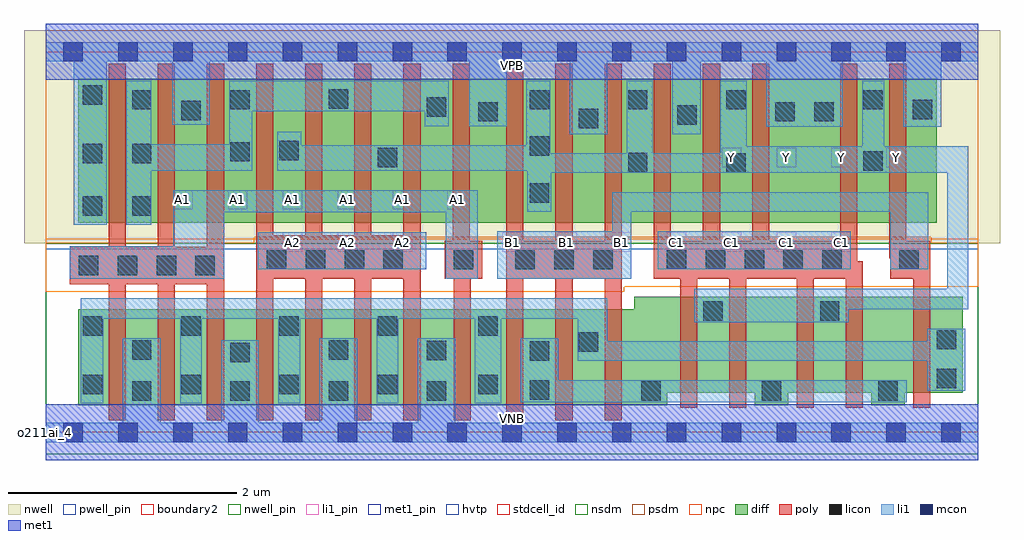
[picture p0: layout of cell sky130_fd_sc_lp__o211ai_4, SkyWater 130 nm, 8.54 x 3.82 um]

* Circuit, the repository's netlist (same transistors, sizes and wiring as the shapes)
* Copyright 2020 The SkyWater PDK Authors
*
* Licensed under the Apache License, Version 2.0 (the "License");
* you may not use this file except in compliance with the License.
* You may obtain a copy of the License at
*
*     https://www.apache.org/licenses/LICENSE-2.0
*
* Unless required by applicable law or agreed to in writing, software
* distributed under the License is distributed on an "AS IS" BASIS,
* WITHOUT WARRANTIES OR CONDITIONS OF ANY KIND, either express or implied.
* See the License for the specific language governing permissions and
* limitations under the License.
*
* SPDX-License-Identifier: Apache-2.0

.SUBCKT sky130_fd_sc_lp__o211ai_4 A1 A2 B1 C1 VGND VNB VPB VPWR Y
*.PININFO A1:I A2:I B1:I C1:I VGND:I VNB:I VPB:I VPWR:I Y:O
MMPA0 VPWR A1 sndA1 VPB sky130_fd_pr__pfet_01v8_hvt m=4 w=1.26U l=0.15U mult=1
+ sa=0.265 sb=0.265 sd=0.28 area=0.063 perim=1.14
MMPA1 sndA1 A2 Y VPB sky130_fd_pr__pfet_01v8_hvt m=4 w=1.26U l=0.15U mult=1 sa=0.265
+ sb=0.265 sd=0.28 area=0.063 perim=1.14
MMPB0 VPWR B1 Y VPB sky130_fd_pr__pfet_01v8_hvt m=4 w=1.26U l=0.15U mult=1 sa=0.265
+ sb=0.265 sd=0.28 area=0.063 perim=1.14
MMPC0 VPWR C1 Y VPB sky130_fd_pr__pfet_01v8_hvt m=4 w=1.26U l=0.15U mult=1 sa=0.265
+ sb=0.265 sd=0.28 area=0.063 perim=1.14
MMNA0 pndA A1 VGND VNB sky130_fd_pr__nfet_01v8 m=4 w=0.84U l=0.15U mult=1 sa=0.265
+ sb=0.265 sd=0.28 area=0.063 perim=1.14
MMNA1 pndA A2 VGND VNB sky130_fd_pr__nfet_01v8 m=4 w=0.84U l=0.15U mult=1 sa=0.265
+ sb=0.265 sd=0.28 area=0.063 perim=1.14
MMNB0 pndB B1 pndA VNB sky130_fd_pr__nfet_01v8 m=4 w=0.84U l=0.15U mult=1 sa=0.265
+ sb=0.265 sd=0.28 area=0.063 perim=1.14
MMNC0 Y C1 pndB VNB sky130_fd_pr__nfet_01v8 m=4 w=0.84U l=0.15U mult=1 sa=0.265
+ sb=0.265 sd=0.28 area=0.063 perim=1.14
.ENDS sky130_fd_sc_lp__o211ai_4

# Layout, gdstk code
import gdstk
lib = gdstk.Library(unit=1e-6, precision=1e-09)
def R(c, l, rs):  # rectangles x0, y0, x1, y1
    for r in rs: c.add(gdstk.rectangle(r[:2], r[2:], *l))
def A(c, l, x, y, w, h, nx, ny, dx, dy):  # array of equal rectangles
    R(c, l, [(x+i*dx, y+j*dy, x+i*dx+w, y+j*dy+h) for i in range(nx) for j in range(ny)])
def P(c, l, *ps):  # polygons
    for p in ps: c.add(gdstk.Polygon(p, *l))
nwell_pin = (64, 16)
nwell = (64, 20)
diff = (65, 20)
poly = (66, 20)
licon = (66, 44)
li1_pin = (67, 16)
li1 = (67, 20)
mcon = (67, 44)
met1_pin = (68, 16)
met1 = (68, 20)
hvtp = (78, 44)
stdcell_id = (81, 4)
nsdm = (93, 44)
psdm = (94, 20)
npc = (95, 20)
pwell_pin = (122, 16)
boundary2 = (236, 0)

sky130_fd_sc_lp__o211ai_ = lib.new_cell('sky130_fd_sc_lp__o211ai_4')
R(sky130_fd_sc_lp__o211ai_, nwell_pin, [(0,3.085,8.16,3.33)])
R(sky130_fd_sc_lp__o211ai_, nwell, [(-0.19,1.655,8.35,3.52)])
R(sky130_fd_sc_lp__o211ai_, diff, [(0.285,1.835,7.795,3.095)])
P(sky130_fd_sc_lp__o211ai_, diff, [(8.025,1.185),(5.15,1.185),(5.15,1.075),(0.285,1.075),(0.285,0.235),(5.44,0.235),(5.44,0.345),(6.205,0.345),(6.205,0.235),(6.495,0.235),(6.495,0.345),(7.225,0.345),(7.225,0.235),(7.515,0.235),(7.515,0.345),(8.025,0.345)])
P(sky130_fd_sc_lp__o211ai_, poly, [(1.56,3.225),(1.41,3.225),(1.41,1.625),(1.13,1.625),(1.13,3.225),(0.98,3.225),(0.98,1.625),(0.7,1.625),(0.7,3.225),(0.55,3.225),(0.55,1.625),(0.21,1.625),(0.21,1.295),(0.55,1.295),(0.55,0.105),(0.7,0.105),(0.7,1.295),(0.98,1.295),(0.98,0.105),(1.13,0.105),(1.13,1.295),(1.41,1.295),(1.41,0.105),(1.56,0.105)],
  [(3.28,3.225),(3.13,3.225),(3.13,1.725),(2.85,1.725),(2.85,3.225),(2.7,3.225),(2.7,1.725),(2.42,1.725),(2.42,3.225),(2.27,3.225),(2.27,1.725),(1.99,1.725),(1.99,3.225),(1.84,3.225),(1.84,0.105),(1.99,0.105),(1.99,1.345),(2.27,1.345),(2.27,0.105),(2.42,0.105),(2.42,1.345),(2.7,1.345),(2.7,0.105),(2.85,0.105),(2.85,1.345),(3.13,1.345),(3.13,0.105),(3.28,0.105)],
  [(3.82,1.675),(3.71,1.675),(3.71,3.225),(3.56,3.225),(3.56,1.675),(3.49,1.675),(3.49,1.345),(3.57,1.345),(3.57,0.105),(3.72,0.105),(3.72,1.345),(3.82,1.345)],
  [(5.04,3.225),(4.89,3.225),(4.89,1.675),(4.61,1.675),(4.61,3.225),(4.46,3.225),(4.46,1.675),(4.18,1.675),(4.18,3.225),(4.03,3.225),(4.03,0.105),(4.18,0.105),(4.18,1.345),(4.46,1.345),(4.46,0.105),(4.61,0.105),(4.61,1.345),(4.89,1.345),(4.89,0.105),(5.04,0.105)],
  [(7.15,1.495),(7.1,1.495),(7.1,3.225),(6.95,3.225),(6.95,1.675),(6.33,1.675),(6.33,3.225),(6.18,3.225),(6.18,1.675),(5.9,1.675),(5.9,3.225),(5.75,3.225),(5.75,1.675),(5.47,1.675),(5.47,3.225),(5.32,3.225),(5.32,1.345),(5.55,1.345),(5.55,0.215),(5.7,0.215),(5.7,1.345),(5.98,1.345),(5.98,0.215),(6.13,0.215),(6.13,1.345),(6.57,1.345),(6.57,0.215),(6.72,0.215),(6.72,1.345),(7,1.345),(7,0.215),(7.15,0.215)],
  [(7.74,1.675),(7.53,1.675),(7.53,3.225),(7.38,3.225),(7.38,1.525),(7.39,1.525),(7.39,1.345),(7.59,1.345),(7.59,0.215),(7.74,0.215)])
A(sky130_fd_sc_lp__o211ai_, licon, 0.755, 0.275, 0.17, 0.17, 4, 1, 0.86, 0)
A(sky130_fd_sc_lp__o211ai_, licon, 0.325, 0.335, 0.17, 0.17, 4, 2, 0.86, 0.51)
A(sky130_fd_sc_lp__o211ai_, licon, 0.29, 1.375, 0.17, 0.17, 4, 1, 0.34, 0)
A(sky130_fd_sc_lp__o211ai_, licon, 1.935, 1.425, 0.17, 0.17, 4, 1, 0.34, 0)
A(sky130_fd_sc_lp__o211ai_, licon, 4.11, 1.425, 0.17, 0.17, 3, 1, 0.34, 0)
A(sky130_fd_sc_lp__o211ai_, licon, 5.435, 1.425, 0.17, 0.17, 5, 1, 0.34, 0)
A(sky130_fd_sc_lp__o211ai_, licon, 4.235, 2.825, 0.17, 0.17, 3, 1, 0.86, 0)
R(sky130_fd_sc_lp__o211ai_, licon, [(5.21,0.275,5.38,0.445), (6.265,0.275,6.435,0.445), (7.285,0.275,7.455,0.445), (4.235,0.285,4.405,0.455), (3.785,0.335,3.955,0.505), (7.795,0.385,7.965,0.555), (1.615,0.615,1.785,0.785), (4.235,0.625,4.405,0.795), (3.335,0.63,3.505,0.8), (0.755,0.635,0.925,0.805), (2.475,0.635,2.645,0.805), (4.665,0.705,4.835,0.875), (7.795,0.725,7.965,0.895), (3.785,0.845,3.955,1.015), (5.755,0.975,5.925,1.145), (6.775,0.975,6.945,1.145), (3.57,1.425,3.74,1.595), (7.47,1.425,7.64,1.595), (0.325,1.895,0.495,2.065), (0.755,1.895,0.925,2.065), (4.235,2.01,4.405,2.18), (5.955,2.27,6.125,2.44), (5.095,2.275,5.265,2.445), (7.155,2.29,7.325,2.46), (2.905,2.32,3.075,2.49), (0.325,2.355,0.495,2.525), (0.755,2.355,0.925,2.525), (1.615,2.37,1.785,2.54), (2.045,2.38,2.215,2.55), (4.235,2.42,4.405,2.59), (4.665,2.66,4.835,2.83), (5.525,2.69,5.695,2.86), (3.785,2.72,3.955,2.89), (6.385,2.72,6.555,2.89), (6.725,2.72,6.895,2.89), (1.185,2.73,1.355,2.9), (7.585,2.74,7.755,2.91), (3.335,2.76,3.505,2.93), (0.755,2.825,0.925,2.995), (1.615,2.825,1.785,2.995), (7.155,2.825,7.325,2.995), (2.475,2.83,2.645,3), (0.325,2.865,0.495,3.035)])
A(sky130_fd_sc_lp__o211ai_, li1_pin, 2.075, 1.58, 0.17, 0.17, 3, 1, 0.48, 0)
A(sky130_fd_sc_lp__o211ai_, li1_pin, 3.995, 1.58, 0.17, 0.17, 7, 1, 0.48, 0)
A(sky130_fd_sc_lp__o211ai_, li1_pin, 1.115, 1.95, 0.17, 0.17, 6, 1, 0.48, 0)
A(sky130_fd_sc_lp__o211ai_, li1_pin, 5.915, 2.32, 0.17, 0.17, 4, 1, 0.48, 0)
R(sky130_fd_sc_lp__o211ai_, li1, [(1.855,1.425,3.33,1.75), (5.355,1.425,7.045,1.76)])
P(sky130_fd_sc_lp__o211ai_, li1, [(5.48,2.61),(5.48,3.245),(4.915,3.245),(4.915,2.61),(4.585,2.61),(4.585,3.245),(4.035,3.245),(4.035,2.68),(3.705,2.68),(3.705,3.245),(1.435,3.245),(1.435,2.69),(1.105,2.69),(1.105,3.245),(0.535,3.245),(0.535,1.815),(0.245,1.815),(0.245,3.245),(0,3.245),(0,3.415),(8.16,3.415),(8.16,3.245),(7.835,3.245),(7.835,2.675),(7.505,2.675),(7.505,3.245),(6.975,3.245),(6.975,2.675),(6.305,2.675),(6.305,3.245),(5.73,3.245),(5.73,2.61)],
  [(2.395,0.085),(2.395,0.825),(2.725,0.825),(2.725,0.085),(3.255,0.085),(3.255,0.825),(3.585,0.825),(3.585,0.085),(8.16,0.085),(8.16,-0.085),(0,-0.085),(0,0.085),(0.675,0.085),(0.675,0.825),(1.005,0.825),(1.005,0.085),(1.535,0.085),(1.535,0.805),(1.865,0.805),(1.865,0.085)],
  [(1.115,1.63),(1.115,2.12),(3.78,2.12),(3.78,1.345),(3.5,1.345),(3.5,1.925),(1.56,1.925),(1.56,1.345),(0.21,1.345),(0.21,1.63)],
  [(7.145,2.505),(7.145,3.075),(7.335,3.075),(7.335,2.505),(8.07,2.505),(8.07,1.075),(7.025,1.075),(7.025,0.965),(5.675,0.965),(5.675,1.255),(7.89,1.255),(7.89,2.27),(4.425,2.27),(4.425,1.93),(4.215,1.93),(4.215,2.29),(2.025,2.29),(2.025,2.63),(2.235,2.63),(2.235,2.51),(4.205,2.51),(4.205,3.075),(4.415,3.075),(4.415,2.44),(5.085,2.44),(5.085,3.075),(5.31,3.075),(5.31,2.44),(5.9,2.44),(5.9,3.075),(6.135,3.075),(6.135,2.505)],
  [(3.315,2.81),(1.805,2.81),(1.805,2.29),(0.925,2.29),(0.925,1.815),(0.705,1.815),(0.705,3.075),(0.925,3.075),(0.925,2.52),(1.605,2.52),(1.605,3.075),(3.525,3.075),(3.525,2.68),(3.315,2.68)],
  [(4.915,0.795),(7.715,0.795),(7.715,0.905),(8.045,0.905),(8.045,0.365),(7.715,0.365),(7.715,0.625),(4.655,0.625),(4.655,0.995),(3.985,0.995),(3.985,0.255),(3.755,0.255),(3.755,0.995),(3.085,0.995),(3.085,0.255),(2.895,0.255),(2.895,0.995),(2.225,0.995),(2.225,0.255),(2.035,0.255),(2.035,0.995),(1.365,0.995),(1.365,0.255),(1.175,0.255),(1.175,0.995),(0.505,0.995),(0.505,0.255),(0.305,0.255),(0.305,1.175),(4.915,1.175)],
  [(4.485,0.455),(7.535,0.455),(7.535,0.265),(4.155,0.265),(4.155,0.825),(4.485,0.825)],
  [(7.39,1.425),(7.39,1.93),(5.125,1.93),(5.125,1.345),(3.95,1.345),(3.95,1.76),(4.955,1.76),(4.955,2.1),(7.72,2.1),(7.72,1.425)])
A(sky130_fd_sc_lp__o211ai_, mcon, 0.155, -0.085, 0.17, 0.17, 17, 2, 0.48, 3.33)
R(sky130_fd_sc_lp__o211ai_, met1_pin, [(0,0,8.16,0.245), (0,3.085,8.16,3.33)])
R(sky130_fd_sc_lp__o211ai_, met1, [(0,-0.245,8.16,0.245), (0,3.085,8.16,3.575)])
R(sky130_fd_sc_lp__o211ai_, hvtp, [(0,1.6,8.16,3.33)])
R(sky130_fd_sc_lp__o211ai_, stdcell_id, [(0,0,8.16,3.33)])
R(sky130_fd_sc_lp__o211ai_, nsdm, [(0,-0.19,8.16,1.655)])
P(sky130_fd_sc_lp__o211ai_, psdm, [(8.16,3.52),(0,3.52),(0,1.655),(1.825,1.655),(1.825,1.705),(7.75,1.705),(7.75,1.655),(8.16,1.655)])
P(sky130_fd_sc_lp__o211ai_, npc, [(8.16,1.695),(0,1.695),(0,1.23),(5.06,1.23),(5.06,1.275),(8.16,1.275)])
R(sky130_fd_sc_lp__o211ai_, pwell_pin, [(0,0,8.16,0.245)])
R(sky130_fd_sc_lp__o211ai_, boundary2, [(0,0,8.16,3.33)])
sky130_fd_sc_lp__o211ai_.add(gdstk.Label('VNB', (4.08,0.123), layer=64, texttype=59))
sky130_fd_sc_lp__o211ai_.add(gdstk.Label('VPB', (4.08,3.208), layer=64, texttype=5))
sky130_fd_sc_lp__o211ai_.add(gdstk.Label('o211ai_4', (0,0), layer=83, texttype=44))
sky130_fd_sc_lp__o211ai_.add(gdstk.Label('VPWR', (4.08,3.208), layer=68, texttype=5))
sky130_fd_sc_lp__o211ai_.add(gdstk.Label('VGND', (4.08,0.123), layer=68, texttype=5))
sky130_fd_sc_lp__o211ai_.add(gdstk.Label('A1', (1.2,2.035), layer=67, texttype=5))
sky130_fd_sc_lp__o211ai_.add(gdstk.Label('A1', (1.68,2.035), layer=67, texttype=5))
sky130_fd_sc_lp__o211ai_.add(gdstk.Label('A1', (2.16,2.035), layer=67, texttype=5))
sky130_fd_sc_lp__o211ai_.add(gdstk.Label('A1', (2.64,2.035), layer=67, texttype=5))
sky130_fd_sc_lp__o211ai_.add(gdstk.Label('A1', (3.12,2.035), layer=67, texttype=5))
sky130_fd_sc_lp__o211ai_.add(gdstk.Label('A1', (3.6,2.035), layer=67, texttype=5))
sky130_fd_sc_lp__o211ai_.add(gdstk.Label('Y', (6,2.405), layer=67, texttype=5))
sky130_fd_sc_lp__o211ai_.add(gdstk.Label('Y', (6.48,2.405), layer=67, texttype=5))
sky130_fd_sc_lp__o211ai_.add(gdstk.Label('Y', (6.96,2.405), layer=67, texttype=5))
sky130_fd_sc_lp__o211ai_.add(gdstk.Label('Y', (7.44,2.405), layer=67, texttype=5))
sky130_fd_sc_lp__o211ai_.add(gdstk.Label('C1', (5.52,1.665), layer=67, texttype=5))
sky130_fd_sc_lp__o211ai_.add(gdstk.Label('C1', (6,1.665), layer=67, texttype=5))
sky130_fd_sc_lp__o211ai_.add(gdstk.Label('C1', (6.48,1.665), layer=67, texttype=5))
sky130_fd_sc_lp__o211ai_.add(gdstk.Label('C1', (6.96,1.665), layer=67, texttype=5))
sky130_fd_sc_lp__o211ai_.add(gdstk.Label('A2', (2.16,1.665), layer=67, texttype=5))
sky130_fd_sc_lp__o211ai_.add(gdstk.Label('A2', (2.64,1.665), layer=67, texttype=5))
sky130_fd_sc_lp__o211ai_.add(gdstk.Label('A2', (3.12,1.665), layer=67, texttype=5))
sky130_fd_sc_lp__o211ai_.add(gdstk.Label('B1', (4.08,1.665), layer=67, texttype=5))
sky130_fd_sc_lp__o211ai_.add(gdstk.Label('B1', (4.56,1.665), layer=67, texttype=5))
sky130_fd_sc_lp__o211ai_.add(gdstk.Label('B1', (5.04,1.665), layer=67, texttype=5))

lib.write_gds('sky130_fd_sc_lp__o211ai_4.gds')
